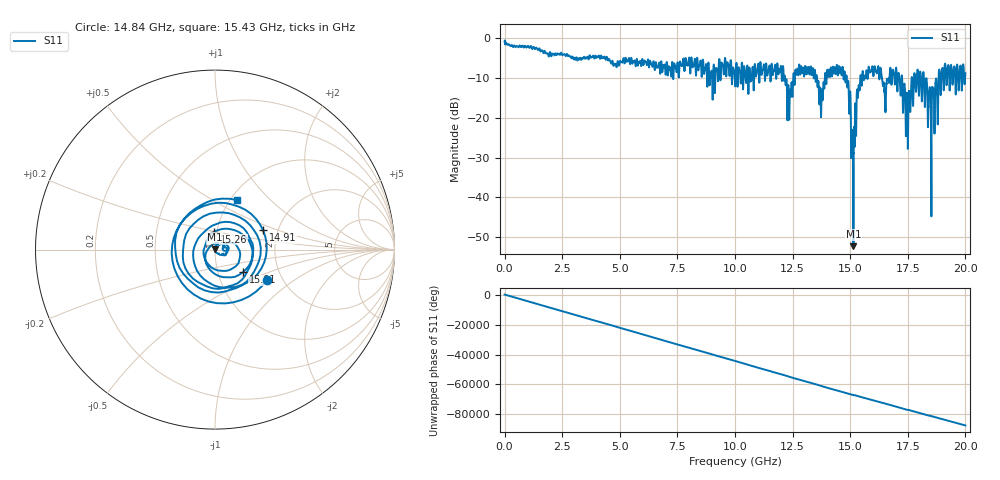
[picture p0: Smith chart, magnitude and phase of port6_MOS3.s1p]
! MS46122B
! 2250307/22442219
! 6/16/2025 7:54:10 AM
! C:\USERS\SPARKY\DOCUMENTS\VNA_DATA\JUNE16_2025\3.1K\PORT6_MOS3.S1P
! CHANNEL.1
! TR.MEASUREMENT
! RAW.DATA
# GHZ S RI R 50.0
! FREQ.GHZ  S11RE  S11IM
!; PortSelection: Port_1
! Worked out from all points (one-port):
!   10001 points, 1 MHz to 20 GHz, reference 50 ohm
!   lowest |S11| = -52.2 dB at 15.14 GHz (marker M1), VSWR 1.00, Z = 49.8 + j0.115 ohm
!   |S11| at or under -10 dB: 14.85 GHz to 15.44 GHz (587.4 MHz wide, 3.88 % of centre); 17.25 GHz to 17.67 GHz (417.4 MHz wide, 2.39 % of centre); 18.2 GHz to 18.84 GHz (635.1 MHz wide, 3.43 % of centre) (the widest 3 of 56)
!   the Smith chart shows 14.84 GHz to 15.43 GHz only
!   S11 on the Smith chart (normalised r, x): 14.84 GHz: 1.67, -0.63; 14.91 GHz: 1.67, +0.40; 15.01 GHz: 1.32, -0.35; 15.26 GHz: 0.97, +0.20; 15.43 GHz: 1.08, +0.66
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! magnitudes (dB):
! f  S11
! 1 MHz  -1.0
! 2.501 GHz  -4.3
! 5.001 GHz  -5.9
! 7.501 GHz  -6.2
! 10 GHz  -11.5
! 11.91 GHz  -8.0
! 12.34 GHz  -15.4
! 12.5 GHz  -13.9
! 12.87 GHz  -7.1
! 13.38 GHz  -7.7
! 13.73 GHz  -19.5
! 14.09 GHz  -7.9
! 14.84 GHz  -9.5
! 14.91 GHz  -10.8
! 15 GHz  -13.5
! 15.01 GHz  -14.0
! 15.14 GHz  -52.2
! 15.26 GHz  -20.0
! 15.43 GHz  -10.4
! 16.14 GHz  -8.6
! 16.5 GHz  -13.8
! 16.92 GHz  -10.4
! 17.5 GHz  -27.7
! 17.86 GHz  -13.5
! 18.25 GHz  -17.0
! 18.45 GHz  -12.5
! 19.06 GHz  -13.0
! 20 GHz  -8.8
